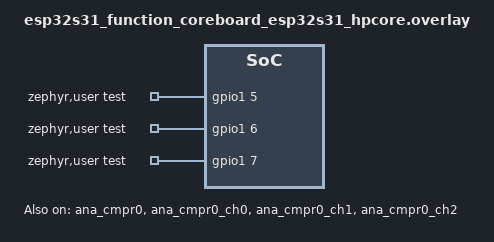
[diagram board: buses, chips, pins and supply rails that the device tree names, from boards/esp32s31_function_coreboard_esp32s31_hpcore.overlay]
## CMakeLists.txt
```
# Copyright (c) 2026 Espressif Systems (Shanghai) Co., Ltd.
# SPDX-License-Identifier: Apache-2.0

cmake_minimum_required(VERSION 3.28.0)
find_package(Zephyr REQUIRED HINTS $ENV{ZEPHYR_BASE})
project(ana_cmpr_zd)

target_sources(app PRIVATE src/main.c)
```

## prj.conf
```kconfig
# Copyright (c) 2026 Espressif Systems (Shanghai) Co., Ltd.
# SPDX-License-Identifier: Apache-2.0

CONFIG_ZTEST=y
CONFIG_GPIO=y
CONFIG_COMPARATOR=y
```

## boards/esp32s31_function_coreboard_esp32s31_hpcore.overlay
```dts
/*
 * Copyright (c) 2026 Espressif Systems (Shanghai) Co., Ltd.
 *
 * SPDX-License-Identifier: Apache-2.0
 */

#include <zephyr/dt-bindings/gpio/gpio.h>

/*
 * Three inputs on GPIO37-GPIO39, internal reference. Each pad is driven by
 * its own digital output; the analog front-end taps the pad directly.
 */
/ {
	zephyr,user {
		test-gpios = <&gpio1 5 GPIO_ACTIVE_HIGH>, /* GPIO37 */
			     <&gpio1 6 GPIO_ACTIVE_HIGH>, /* GPIO38 */
			     <&gpio1 7 GPIO_ACTIVE_HIGH>; /* GPIO39 */
	};
};

&ana_cmpr0 {
	ref-source = "internal";
	ref-voltage = <50>;
	hysteresis-mv = <40>;
	status = "okay";
};

&ana_cmpr0_ch0 {
	source-pad = <0>;
	status = "okay";
};

&ana_cmpr0_ch1 {
	source-pad = <1>;
	status = "okay";
};

&ana_cmpr0_ch2 {
	source-pad = <2>;
	status = "okay";
};
```

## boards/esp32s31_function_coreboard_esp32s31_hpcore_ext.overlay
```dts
/*
 * Copyright (c) 2026 Espressif Systems (Shanghai) Co., Ltd.
 *
 * SPDX-License-Identifier: Apache-2.0
 */

#include <zephyr/dt-bindings/gpio/gpio.h>

/ {
	zephyr,user {
		ref-gpios = <&gpio1 8 GPIO_ACTIVE_HIGH>; /* GPIO40 */
	};
};

&ana_cmpr0 {
	ref-source = "external";
	ext-ref-pad = <3>;
	hysteresis-mv = <0>;
};

&ana_cmpr0_ch0 {
	source-pad = <0>;
	status = "okay";
};

&ana_cmpr0_ch1 {
	source-pad = <1>;
	status = "okay";
};

&ana_cmpr0_ch2 {
	source-pad = <2>;
	status = "okay";
};
```

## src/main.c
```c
/*
 * Copyright (c) 2026 Espressif Systems (Shanghai) Co., Ltd.
 *
 * SPDX-License-Identifier: Apache-2.0
 */

#include <hal/ana_cmpr_periph.h>
#include <hal/gpio_ll.h>

#include <zephyr/drivers/comparator.h>
#include <zephyr/drivers/gpio.h>
#include <zephyr/kernel.h>
#include <zephyr/sys/atomic.h>
#include <zephyr/ztest.h>

#define ZERO_DET_PARENT DT_NODELABEL(ana_cmpr0)
#define ZERO_DET_USER   DT_PATH(zephyr_user)

#define ZERO_DET_CHAN_GET(node) DEVICE_DT_GET(node),

static const struct device *const chans[] = {
	DT_FOREACH_CHILD_STATUS_OKAY(ZERO_DET_PARENT, ZERO_DET_CHAN_GET)
};

static const struct gpio_dt_spec pins[] = {
	DT_FOREACH_PROP_ELEM_SEP(ZERO_DET_USER, test_gpios, GPIO_DT_SPEC_GET_BY_IDX, (,))
};

#if DT_NODE_HAS_PROP(ZERO_DET_USER, ref_gpios)
#define ZERO_DET_CHAN_PAD(node) DT_PROP(node, source_pad),
static const struct gpio_dt_spec ref_pin = GPIO_DT_SPEC_GET(ZERO_DET_USER, ref_gpios);
static const uint8_t chan_pads[] = {
	DT_FOREACH_CHILD_STATUS_OKAY(ZERO_DET_PARENT, ZERO_DET_CHAN_PAD)
};
#define ZERO_DET_HAS_EXT_REF 1
#else
#define ZERO_DET_HAS_EXT_REF 0
#endif

static atomic_t callback_hits;
static const struct device *callback_dev;

BUILD_ASSERT(ARRAY_SIZE(chans) == ARRAY_SIZE(pins), "one GPIO per channel");
BUILD_ASSERT(ARRAY_SIZE(chans) >= 3, "enable three channels");

static void zero_det_callback(const struct device *dev, void *user_data)
{
	ARG_UNUSED(user_data);

	if (dev == callback_dev) {
		atomic_inc(&callback_hits);
	}
}

static void set_pin(size_t idx, int value)
{
	zassert_ok(gpio_pin_set_dt(&pins[idx], value));
}

static void set_all(int value)
{
	for (size_t i = 0; i < ARRAY_SIZE(pins); i++) {
		set_pin(i, value);
	}
}

static void *zero_det_setup(void)
{
	for (size_t i = 0; i < ARRAY_SIZE(chans); i++) {
		zassert_true(device_is_ready(chans[i]));
		zassert_true(gpio_is_ready_dt(&pins[i]));
		zassert_ok(gpio_pin_configure_dt(&pins[i], GPIO_OUTPUT_INACTIVE));
	}

#if ZERO_DET_HAS_EXT_REF
	zassert_true(gpio_is_ready_dt(&ref_pin));
	zassert_ok(gpio_pin_configure_dt(&ref_pin, GPIO_OUTPUT_INACTIVE));
#endif

	return NULL;
}

static void zero_det_before(void *fixture)
{
	ARG_UNUSED(fixture);

	atomic_set(&callback_hits, 0);
	callback_dev = NULL;
	set_all(0);
#if ZERO_DET_HAS_EXT_REF
	zassert_ok(gpio_pin_configure_dt(&ref_pin, GPIO_OUTPUT_INACTIVE));
#endif
	k_msleep(1);

	for (size_t i = 0; i < ARRAY_SIZE(chans); i++) {
		zassert_ok(comparator_set_trigger(chans[i], COMPARATOR_TRIGGER_NONE));
		zassert_ok(comparator_set_trigger_callback(chans[i], NULL, NULL));
	}
}

ZTEST(ana_cmpr_zd, test_output_follows_pin)
{
#if ZERO_DET_HAS_EXT_REF
	const int *pad_gpios = ana_cmpr_periph[0].pad_gpios;

	for (size_t i = 0; i < ARRAY_SIZE(chan_pads); i++) {
		uint32_t gpio = (uint32_t)pad_gpios[chan_pads[i]];

		gpio_ll_output_disable(&GPIO, gpio);
		gpio_ll_pullup_en(&GPIO, gpio);
		gpio_ll_pulldown_en(&GPIO, gpio);
	}

	zassert_ok(gpio_pin_set_dt(&ref_pin, 1));
	k_msleep(1);
	for (size_t i = 0; i < ARRAY_SIZE(chans); i++) {
		zassert_equal(comparator_get_output(chans[i]), 0);
	}

	zassert_ok(gpio_pin_set_dt(&ref_pin, 0));
	k_msleep(1);
	for (size_t i = 0; i < ARRAY_SIZE(chans); i++) {
		zassert_equal(comparator_get_output(chans[i]), 1);
	}

	for (size_t i = 0; i < ARRAY_SIZE(pins); i++) {
		zassert_ok(gpio_pin_configure_dt(&pins[i], GPIO_OUTPUT_INACTIVE));
	}
#endif

	for (size_t i = 0; i < ARRAY_SIZE(chans); i++) {
		set_all(0);
		set_pin(i, 1);
		k_msleep(1);

		zassert_equal(comparator_get_output(chans[i]), 1);

		if (ZERO_DET_HAS_EXT_REF == 0) {
			for (size_t j = 0; j < ARRAY_SIZE(chans); j++) {
				if (j == i) {
					continue;
				}

				zassert_equal(comparator_get_output(chans[j]), 0);
			}
		}
	}
}

ZTEST(ana_cmpr_zd, test_trigger_stays_on_its_channel)
{
#if ZERO_DET_HAS_EXT_REF
	uint32_t ref_gpio = (uint32_t)ana_cmpr_periph[0].pad_gpios[
		DT_PROP(ZERO_DET_PARENT, ext_ref_pad)];

	gpio_ll_output_disable(&GPIO, ref_gpio);
	gpio_ll_pullup_en(&GPIO, ref_gpio);
	gpio_ll_pulldown_en(&GPIO, ref_gpio);
	k_msleep(1);
#endif

	for (size_t i = 0; i < ARRAY_SIZE(chans); i++) {
		int level = comparator_get_output(chans[i]);

		zassert_equal(level, 0);
	}

	zassert_ok(comparator_set_trigger(chans[0], COMPARATOR_TRIGGER_RISING_EDGE));
	callback_dev = chans[0];
	zassert_ok(comparator_set_trigger_callback(chans[0], zero_det_callback, NULL));

	set_pin(1, 1);
	k_msleep(2);
	zassert_equal(atomic_get(&callback_hits), 0);

	set_pin(0, 1);
	k_msleep(2);
	zassert_equal(atomic_get(&callback_hits), 1);
	zassert_equal(comparator_get_output(chans[0]), 1);

	if (ZERO_DET_HAS_EXT_REF == 0) {
		zassert_equal(comparator_get_output(chans[1]), 1);
		zassert_equal(comparator_get_output(chans[2]), 0);
	}
}

ZTEST(ana_cmpr_zd, test_disarm_one_of_two)
{
	if (ZERO_DET_HAS_EXT_REF != 0) {
		ztest_test_skip();
	}

	zassert_ok(comparator_set_trigger(chans[0], COMPARATOR_TRIGGER_RISING_EDGE));
	zassert_ok(comparator_set_trigger(chans[1], COMPARATOR_TRIGGER_FALLING_EDGE));
	zassert_ok(comparator_set_trigger(chans[0], COMPARATOR_TRIGGER_NONE));

	set_pin(0, 1);
	set_pin(1, 1);
	k_msleep(2);
	set_pin(0, 0);
	set_pin(1, 0);
	k_msleep(2);

	zassert_equal(comparator_trigger_is_pending(chans[0]), 0);
	zassert_equal(comparator_trigger_is_pending(chans[1]), 1);
}

ZTEST(ana_cmpr_zd, test_arm_over_stale_result)
{
	if (ZERO_DET_HAS_EXT_REF != 0) {
		ztest_test_skip();
	}

	zassert_equal(comparator_get_output(chans[0]), 0);

	set_pin(0, 1);
	k_msleep(1);

	zassert_ok(comparator_set_trigger(chans[0], COMPARATOR_TRIGGER_RISING_EDGE));
	k_msleep(2);
	zassert_equal(comparator_trigger_is_pending(chans[0]), 0);
	zassert_equal(comparator_get_output(chans[0]), 1);

	set_pin(0, 0);
	k_msleep(1);
	set_pin(0, 1);
	k_msleep(2);
	zassert_equal(comparator_trigger_is_pending(chans[0]), 1);
}

ZTEST_SUITE(ana_cmpr_zd, NULL, zero_det_setup, zero_det_before, NULL, NULL);
```
